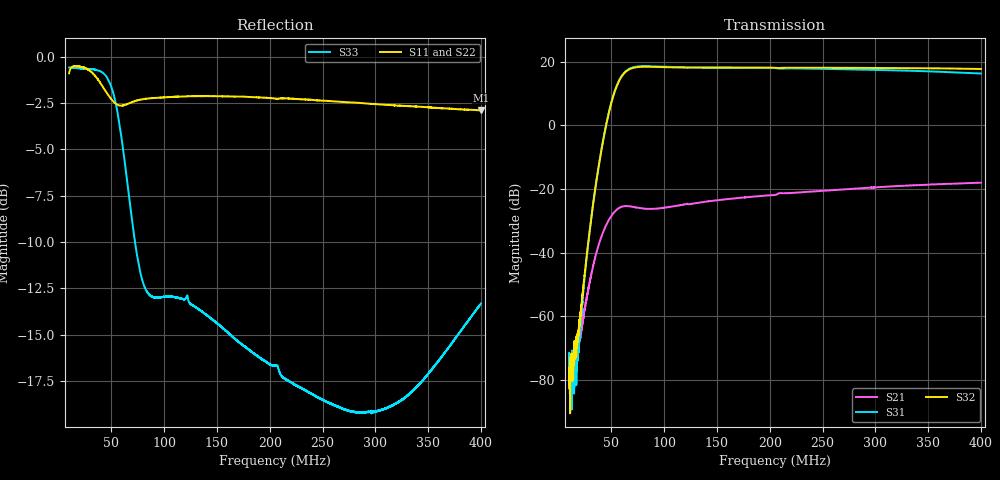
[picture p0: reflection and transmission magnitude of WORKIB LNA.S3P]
!Agilent Technologies,E5071C,MY46419080,A.11.31
!Date: Fri Sep 13 16:01:36 2019
!Data & Calibration Information:
!Freq	S11:SOLT3(ON)	S12:SOLT3(ON)	S13:SOLT3(ON)
!	S21:SOLT3(ON)	S22:SOLT3(ON)	S23:SOLT3(ON)
!	S31:SOLT3(ON)	S32:SOLT3(ON)	S33:SOLT3(ON)
!PortZ  Port1:50+j0  Port2:50+j0  Port3:50+j0
!Above PortZ is port z conversion or system Z0 setting when saving the data.
!When reading, reference impedance value at option line is always used.
# Hz S RI R 50
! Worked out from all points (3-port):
!   7801 points, 10 MHz to 400 MHz, reference 50 ohm
!   strongest paths, dB at 10 MHz, 107.5 MHz, 205 MHz, 302.5 MHz, 400 MHz:
!     S32: -76.1, 18.2, 18.1, 18.0, 17.7
!     S31: -73.8, 18.3, 18.0, 17.4, 16.2
!     S21: -77.9, -25.5, -21.9, -19.5, -18.0
!   lowest |S11| = -2.9 dB at 400 MHz (marker M1), VSWR 6.04, Z = 13.7 - j39.7 ohm
!   |S11| at or under -10 dB: nowhere
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1e7  -0.9008 -0.045  -3.98e-05 7.38e-05  -1.35e-05 -0.000112
     6.1e-05 0.000112  -0.9062 -0.0119  1.93e-05 6.29e-05
     -0.000138 -0.000151  -3.87e-05 0.000151  -0.7803 0.5151
4.77e7  0.4514 0.64  0.000171 0.0313  -0.000516 0.000494
        -0.00361 0.0324  0.488 0.6181  0.000565 -0.000566
        0.8075 -1.413  -0.7331 1.402  0.3429 -0.7879
5.535e7  0.5055 0.5448  0.0352 0.0312  0.000259 0.00164
         0.0325 0.0348  0.5353 0.5199  -0.000396 -0.0019
         -3.103 -2.995  3.147 2.807  -0.6498 -0.3079
6.24e7  0.552 0.4932  0.0537 0.00321  0.00244 0.000925
        0.0532 0.0077  0.5756 0.4665  -0.0027 -0.00101
        -6.315 2.409  6.069 -2.633  -0.2771 0.4482
7.39e7  0.643 0.4082  0.0412 -0.0316  0.002 -0.00273
        0.0426 -0.0281  0.6583 0.3788  -0.00216 0.00272
        1.421 8.214  -1.781 -7.963  0.2948 0.0304
9.53e7  0.7443 0.2154  0.0144 -0.0485  -0.00258 -0.00293
        0.018 -0.0463  0.7475 0.1908  0.00261 0.00303
        8.316 -0.5606  -8.145 1.011  -0.1527 -0.1642
1.346e8  0.7784 -0.0823  -0.0232 -0.0562  -0.00477 0.0017
         -0.0193 -0.0583  0.7706 -0.0974  0.00468 -0.00189
         0.9975 -8.01  -0.3611 8.039  -0.125 0.1642
2.05e8  0.6243 -0.4521  -0.0727 -0.0271  -0.000753 0.00724
        -0.0738 -0.032  0.6152 -0.4521  -2.26e-05 -0.00725
        -7.431 -2.687  7.797 1.887  0.1052 0.1024
3.045e8  0.2503 -0.7  -0.0854 0.0543  0.0075 0.00589
         -0.0906 0.057  0.251 -0.6947  -0.00927 -0.00442
         -4.887 5.532  4.28 -6.685  0.1113 -0.00123
4e8  -0.1305 -0.7038  -0.0214 0.1177  0.0104 -0.00172
     -0.0193 0.1239  -0.1386 -0.7072  -0.0116 0.00573
     1.455 6.328  -3.124 -6.98  0.2142 -0.0272
